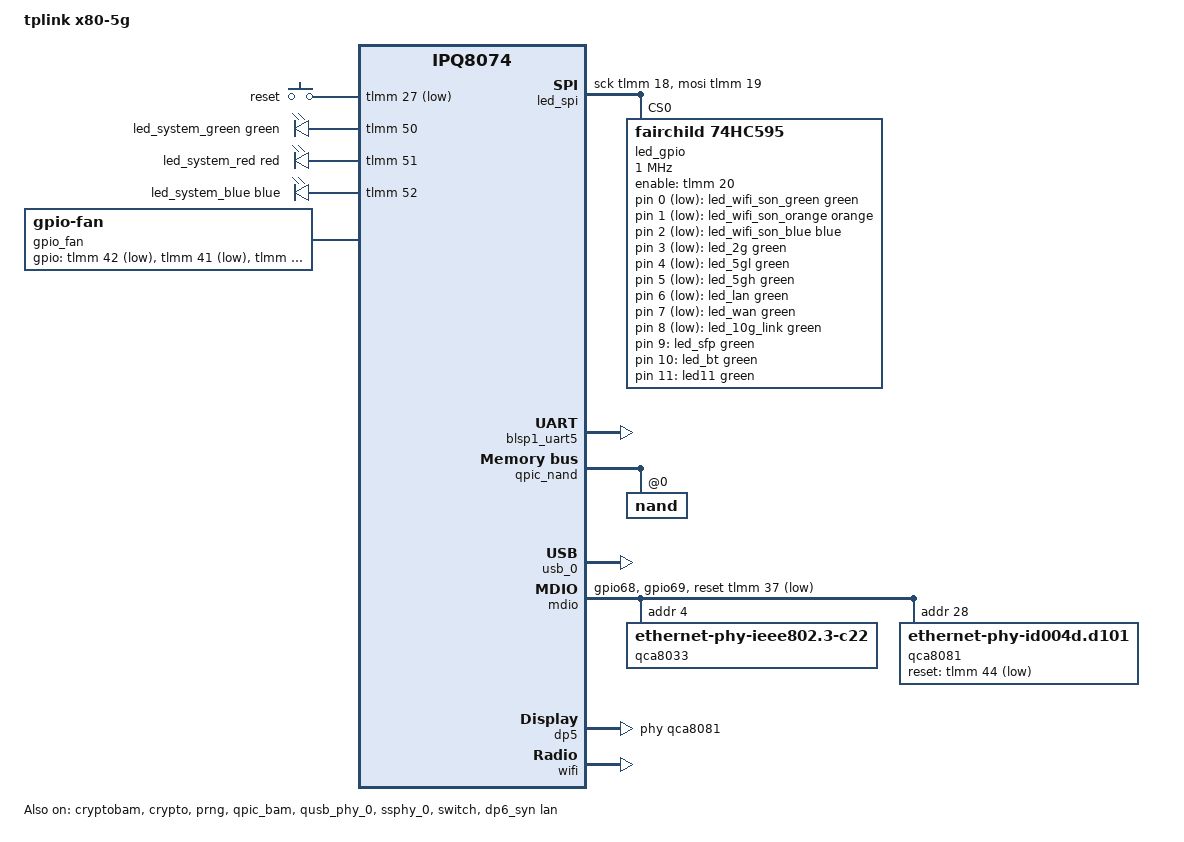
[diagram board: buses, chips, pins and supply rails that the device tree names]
// SPDX-License-Identifier: GPL-2.0-or-later OR MIT
/* Copyright (c) 2022, Robert Marko <robimarko@gmail.com> */
/* altered by Jonathan Brophy <professor_jonny@hotmail.com> */

/dts-v1/;

#include "ipq8074.dtsi"
#include "ipq8074-hk-cpu.dtsi"
#include "ipq8074-ess.dtsi"
#include <dt-bindings/gpio/gpio.h>
#include <dt-bindings/input/input.h>
#include <dt-bindings/leds/common.h>

/ {
	model = "tplink x80-5g";
	compatible = "tplink,x80-5g", "qcom,ipq8074";

	aliases {
		 //Aliases as required by u-boot to patch MAC addresses
		 serial0 = &blsp1_uart5;
 		 ethernet0 = &dp5; // Aliases to capture wan mac from bootloader
		 ethernet1 = &dp6_syn; // Aliases to capture lan mac  from bootloader (currently unused as mac patched from factory data partition)
	};

	chosen {
		stdout-path = "serial0:115200n8";
		bootargs-append = " root=/dev/ubiblock0_1";
	};

	modem {
		compatible = "gpio-modem";
		pinctrl-0 = <&modem_pins>;
		pinctrl-names = "default";

		w_disable {
			label = "w_disable";
			gpios = <&tlmm 35 GPIO_ACTIVE_HIGH>; // wwan disable output
		};

		modem-reset {
			label = "modem_reset";
			gpios = <&tlmm 29 GPIO_ACTIVE_HIGH>; // reset modem output
		};
	};

		antennas {
		compatible = "gpio-antenna";
		pinctrl-0 = <&antenna_pins>;
		pinctrl-names = "default";

		ext_antenna_en {
			label = "ext_antenna_en";
			gpios = <&tlmm 56 GPIO_ACTIVE_HIGH>; // select external sma antennas for WWan output
		};
	};

	gpio_keys {
		compatible = "gpio-keys";
		pinctrl-0 = <&button_pins>;
		pinctrl-names = "default";

		button@1 {
			label = "reset";
			gpios = <&tlmm 27 GPIO_ACTIVE_LOW>; //reset button output
			linux,code = <KEY_RESTART>; // Aliases for button to stitch to linux reset functioon
		};
	};

	led_spi {
		compatible = "spi-gpio";
		#address-cells = <1>;
		#size-cells = <0>;

		sck-gpios = <&tlmm 18 GPIO_ACTIVE_HIGH>; //clock signal for spi connected led's
		mosi-gpios = <&tlmm 19 GPIO_ACTIVE_HIGH>; //serial data for spi connected led's

		led_gpio: led_gpio@0 {
			compatible = "fairchild,74hc595";
			reg = <0>;
			gpio-controller;
			#gpio-cells = <2>;
			registers-number = <2>;
			enable-gpios = <&tlmm 20 GPIO_ACTIVE_HIGH>; // powersupply for spi mux chip
			spi-max-frequency = <1000000>;
		};
	};

	phy-leds {
		compatible = "gpio-leds";

		led_wifi_son_green: led0 {
			gpios = <&led_gpio 0 GPIO_ACTIVE_LOW>;
			color = <LED_COLOR_ID_GREEN>;
		};

		led_wifi_son_orange: led1 {
			gpios = <&led_gpio 1 GPIO_ACTIVE_LOW>;
			color = <LED_COLOR_ID_ORANGE>;
		};

		led_wifi_son_blue: led2 {
			gpios = <&led_gpio 2 GPIO_ACTIVE_LOW>;
			color = <LED_COLOR_ID_BLUE>;
		};

		led_2g: led3 {
			gpios = <&led_gpio 3 GPIO_ACTIVE_LOW>;
			color = <LED_COLOR_ID_GREEN>;
			linux,default-trigger = "phy1radio";
		};

		led_5gl: led4 {
			gpios = <&led_gpio 4 GPIO_ACTIVE_LOW>;
			color = <LED_COLOR_ID_GREEN>;
		};

		led_5gh: led5 {
			gpios = <&led_gpio 5 GPIO_ACTIVE_LOW>;
			color = <LED_COLOR_ID_GREEN>;
		};

		led_lan: led6 {
			gpios = <&led_gpio 6 GPIO_ACTIVE_LOW>;
			color = <LED_COLOR_ID_GREEN>;
		};

		led_wan: led7 {
			gpios = <&led_gpio 7 GPIO_ACTIVE_LOW>;
			color = <LED_COLOR_ID_GREEN>;
			linux,default-trigger = "none";
		};

		led_10g_link: led8 {
			gpios = <&led_gpio 8 GPIO_ACTIVE_LOW>;
			color = <LED_COLOR_ID_GREEN>;
		};

		led_sfp: led9 {
			gpios = <&led_gpio 9 GPIO_ACTIVE_HIGH>;
			color = <LED_COLOR_ID_GREEN>;
		};

		led_bt: led10 {
			gpios = <&led_gpio 10 GPIO_ACTIVE_HIGH>;
			color = <LED_COLOR_ID_GREEN>;
		};

		led11 {
			gpios = <&led_gpio 11 GPIO_ACTIVE_HIGH>;
			color = <LED_COLOR_ID_GREEN>;
		};
	};

	leds {
		compatible = "gpio-leds";
		pinctrl-0 = <&led_pins>;
		pinctrl-names = "default";

		led_system_green: green {
			gpios = <&tlmm 50 GPIO_ACTIVE_HIGH>; //green led output
			color = <LED_COLOR_ID_GREEN>;/* pulsing  green updating firmware, solid green connected to 4G*/
			default-state = "on";
		};

		led_system_red: red {
			gpios = <&tlmm 51 GPIO_ACTIVE_HIGH>; //red led output
			color = <LED_COLOR_ID_RED>; /* pulsing  red disconnected from Wan, solid red error*/
			default-state = "on";
		};

		led_system_blue: blue {
			gpios = <&tlmm 52 GPIO_ACTIVE_HIGH>; //blue led output
			color = <LED_COLOR_ID_BLUE>; /* pulsing  blue is ready for setup or wps in in progress*/
		};
	};

	gpio_fan: gpio-fan {
		compatible = "gpio-fan";
		pinctrl-0 = <&fan_pins>;
		pinctrl-names = "default";
		gpios = <&tlmm 42 GPIO_ACTIVE_LOW>, // fan gpio MSB
						<&tlmm 41 GPIO_ACTIVE_LOW>,
						<&tlmm 40 GPIO_ACTIVE_LOW>; // fan gpio LSB
		/*
		* Sunnon EF40201BX-Q18C-F99
		* 6800 rpm
		* gpio68 seemed to be the feedback rpm of the fan?
		* no support for fan speed in kernel.
		*/
		//rpm-gpios = <&tlmm 68 GPIO_ACTIVE_HIGH>;
		gpio-fan,speed-map = <0	   0>, // speed 0 binary drive bits 0,0,0 (idle state)
												 <971	 1>, // speed 1 binary drive bits 0,0,1      ▼
												 <1942 2>, // speed 3 binary drive bits 0,1,0 (active state)
												 <2913 3>, // speed 4 binary drive bits 0,1,1      ▼
												 <3884 4>, // speed 5 binary drive bits 1,0,0      ▼
												 <4855 5>, // speed 6 binary drive bits 1,0,1 (high state)
												 <5826 6>, // speed 7 binary drive bits 1,1,0      ▼
												 <6800 7>; // speed 8 binary drive bits 1,1,1      ▼
		//alarm-gpios = <&tlmm XX GPIO_ACTIVE_HIGH>;
		cooling-min-level = <0>; // minimum speed allowable to be set via thermal
		cooling-max-level = <7>; // max speed allowable to be set via thermal
		#cooling-cells = <2>;  /* min followed by max */
	};
};

&cpu0_thermal {
	trips {
		cpu0_high: cpu-high {
			temperature = <70000>; // temp tripping point in millidegrees Celsius
			hysteresis = <2000>; // dead band in millidegrees Celsius to avoid windup
			type = "active"; // active to indicate active cooling device
		};
		cpu0_active: cpu-active {
			temperature = <50000>; // temp tripping point in millidegrees Celsius
			hysteresis = <2000>; // dead band in millidegrees Celsius to avoid windup
			type = "active"; // active to indicate active cooling device
		};
		cpu0_idle: cpu-idle {
			temperature = <25000>; // temp tripping point in millidegrees Celsius
			hysteresis = <2000>; // dead band in millidegrees Celsius to avoid windup
			type = "active"; // active to indicate active cooling device
		};
	};

	cooling-maps {
		map2 {
			trip = <&cpu0_high>;
			cooling-device = <&gpio_fan 5 THERMAL_NO_LIMIT>; // minimum and maxium states of the cooling device
		};
		map3 {
			trip = <&cpu0_active>;
			cooling-device = <&gpio_fan 2 4>; // minimum and maxium states of the cooling device
		};
		map4 {
			trip = <&cpu0_idle>;
			cooling-device = <&gpio_fan THERMAL_NO_LIMIT 1>; // minimum and maxium states of the cooling device
		};
	};
};

&cpu1_thermal {
	trips {
		cpu1_high: cpu-high {
			temperature = <70000>; // temp tripping point in millidegrees Celsius
			hysteresis = <2000>; // dead band in millidegrees Celsius to avoid windup
			type = "active"; // active to indicate active cooling device
		};
		cpu1_active: cpu-active {
			temperature = <50000>; // temp tripping point in millidegrees Celsius
			hysteresis = <2000>; // dead band in millidegrees Celsius to avoid windup
			type = "active"; // active to indicate active cooling device
		};
		cpu1_idle: cpu-idle {
			temperature = <25000>; // temp tripping point in millidegrees Celsius
			hysteresis = <2000>; // dead band in millidegrees Celsius to avoid windup
			type = "active"; // active to indicate active cooling device
		};
	};

	cooling-maps {
		map2 {
			trip = <&cpu1_high>;
			cooling-device = <&gpio_fan 5 THERMAL_NO_LIMIT>; // minimum and maxium states of the cooling device
		};
		map3 {
			trip = <&cpu1_active>;
			cooling-device = <&gpio_fan 2 4>; // minimum and maxium states of the cooling device
		};
		map4 {
			trip = <&cpu1_idle>;
			cooling-device = <&gpio_fan THERMAL_NO_LIMIT 1>; // minimum and maxium states of the cooling device
		};
	};
};

&cpu2_thermal {
	trips {
		cpu2_high: cpu-high {
			temperature = <70000>; // temp tripping point in millidegrees Celsius
			hysteresis = <2000>; // dead band in millidegrees Celsius to avoid windup
			type = "active"; // active to indicate active cooling device
		};
		cpu2_active: cpu-active {
			temperature = <50000>; // temp tripping point in millidegrees Celsius
			hysteresis = <2000>; // dead band in millidegrees Celsius to avoid windup
			type = "active"; // active to indicate active cooling device
		};
		cpu2_idle: cpu-idle {
			temperature = <25000>; // temp tripping point in millidegrees Celsius
			hysteresis = <2000>; // dead band in millidegrees Celsius to avoid windup
			type = "active"; // active to indicate active cooling device
		};
	};

	cooling-maps {
		map2 {
			trip = <&cpu2_high>;
			cooling-device = <&gpio_fan 5 THERMAL_NO_LIMIT>; // minimum and maxium states of the cooling device
		};
		map3 {
			trip = <&cpu2_active>;
			cooling-device = <&gpio_fan 2 4>; // minimum and maxium states of the cooling device
		};
		map4 {
			trip = <&cpu2_idle>;
			cooling-device = <&gpio_fan THERMAL_NO_LIMIT 1>; // minimum and maxium states of the cooling device
		};
	};
};

&cpu3_thermal {
	trips {
		cpu3_high: cpu-high {
			temperature = <70000>; // temp tripping point in millidegrees Celsius
			hysteresis = <2000>; // dead band in millidegrees Celsius to avoid windup
			type = "active"; // active to indicate active cooling device
		};
		cpu3_active: cpu-active {
			temperature = <50000>; // temp tripping point in millidegrees Celsius
			hysteresis = <2000>; // dead band in millidegrees Celsius to avoid windup
			type = "active"; // active to indicate active cooling device
		};
		cpu3_idle: cpu-idle {
			temperature = <25000>; // temp tripping point in millidegrees Celsius
			hysteresis = <2000>; // dead band in millidegrees Celsius to avoid windup
			type = "active"; // active to indicate active cooling device
		};
	};

	cooling-maps {
		map2 {
			trip = <&cpu3_high>;
			cooling-device = <&gpio_fan 5 THERMAL_NO_LIMIT>; // minimum and maxium states of the cooling device
		};
		map3 {
			trip = <&cpu3_active>;
			cooling-device = <&gpio_fan 2 4>; // minimum and maxium states of the cooling device
		};
		map4 {
			trip = <&cpu3_idle>;
			cooling-device = <&gpio_fan THERMAL_NO_LIMIT 1>; // minimum and maxium states of the cooling device
		};
	};
};


&cluster_thermal {
	trips {
		cluster_high: cluster-high {
			temperature = <70000>; // temp tripping point in millidegrees Celsius
			hysteresis = <2000>; // dead band in millidegrees Celsius to avoid windup
			type = "active"; // active to indicate active cooling device
		};
		cluster_active: cluster-active {
			temperature = <50000>; // temp tripping point in millidegrees Celsius
			hysteresis = <2000>; // dead band in millidegrees Celsius to avoid windup
			type = "active"; // active to indicate active cooling device
		};
		cluster_idle: cluster-idle {
			temperature = <25000>; // temp tripping point in millidegrees Celsius
			hysteresis = <2000>; // dead band in millidegrees Celsius to avoid windup
			type = "active"; // active to indicate active cooling device
		};
	};

	cooling-maps {
		map2 {
			trip = <&cluster_high>;
			cooling-device = <&gpio_fan 5 THERMAL_NO_LIMIT>; // minimum and maxium states of the cooling device
		};
		map3 {
			trip = <&cluster_active>;
			cooling-device = <&gpio_fan 2 4>; // minimum and maxium states of the cooling device
		};
		map4 {
			trip = <&cluster_idle>;
			cooling-device = <&gpio_fan THERMAL_NO_LIMIT 1>; // minimum and maxium states of the cooling device
		};
	};
};


&tlmm {
	button_pins: button-state {
		pins = "gpio27";
		function = "gpio";
		drive-strength = <2>;  //set 2ma max drive on reset button
		bias-pull-up; // set pullup for reset button
	};

	fan_pins: fan-state {
		pins = "gpio40", "gpio41", "gpio42";
		function = "gpio";
		drive-strength = <2>;  //set 2ma max drive on fan pins
		bias-disable; // disaable bias for fan outputs
	};

	antenna_pins: antenna-state {
		ext_antenna_en {
			pins = "gpio56";
			function = "gpio";
			drive-strength = <2>;  //set 2ma max drive on antenna pins
			bias-disable;  // disaable bias for external antenna control
		};
	};

	modem_pins: modem-state {
		modem_reset {
			pins = "gpio29";
			function = "gpio";
			drive-strength = <2>; //set 2ma max drive on modem reset
			bias-disable; // disaable bias for modem reset control
		};

		w_disable {
			pins = "gpio55";
			function = "gpio";
			drive-strength = <2>;  //set 2ma max drive on modem reset
			bias-disable;  // disaable bias for modem wan disable control
		};
	};

	led_pins: led-state {
		pins = "gpio50", "gpio51", "gpio52";
		function = "gpio";
		drive-strength = <8>;  //set ama max drive on led pins
		bias-disable; // disaable bias for modem wan disable control
	};

	mdio_pins: mdio-pins {
		mdc {
			pins = "gpio68";
			function = "mdc";
			drive-strength = <8>;
			bias-pull-up;
		};

		mdio {
			pins = "gpio69";
			function = "mdio";
			drive-strength = <8>;
			bias-pull-up;
		};
	};
};

&blsp1_uart5 {
	status = "okay"; // enable msm high speed uart
};

&cryptobam {
	status = "okay"; // enable dma controller
};

&crypto {
	status = "okay";
};

&prng {
	status = "okay"; // enable Pseudo-Random Number Generator
};

&qpic_bam {
	status = "okay";
};

&qpic_nand {
	status = "okay"; // enable nand controller

	nand@0 {
		reg = <0>;
		nand-ecc-strength = <4>;
		nand-ecc-step-size = <512>;
		nand-bus-width = <8>;

		partitions {
			compatible = "qcom,smem-part";
		};
	};
};

&qusb_phy_0 {
	status = "okay";
};

&ssphy_0 {
	status = "okay";
};

&usb_0 {
	status = "okay"; // enable first usb3 controller
};

&mdio {
	status = "okay";

	pinctrl-0 = <&mdio_pins>;
	pinctrl-names = "default";
	reset-gpios = <&tlmm 37 GPIO_ACTIVE_LOW>;

	qca8033: ethernet-phy@4 {
		compatible = "ethernet-phy-ieee802.3-c22";
		reg = <0x4>;
	};

	qca8081: ethernet-phy@28 {
		compatible = "ethernet-phy-id004d.d101";
		reg = <28>;
		reset-deassert-us = <10000>;
		reset-gpios = <&tlmm 44 GPIO_ACTIVE_LOW>;
	};
};


&switch {
	status = "okay";

	switch_lan_bmp = <ESS_PORT6>; /* lan port bitmap */
	switch_wan_bmp = <ESS_PORT5>; /* wan port bitmap */
	switch_mac_mode1 = <MAC_MODE_SGMII_CHANNEL0>; /* mac mode for uniphy instance1*/
	switch_mac_mode2 = <MAC_MODE_SGMII_CHANNEL0>; /* mac mode for uniphy instance2*/

	qcom,port_phyinfo {
		port@6 {
			port_id = <6>;
			phy_address = <4>;
		};
		port@5 {
			port_id = <5>;
			phy_address = <28>;
			port_mac_sel = "QGMAC_PORT";
		};
	};
};

&edma {
	status = "okay";
};

&dp5 {
	status = "okay"; // enable wan port
	phy-handle = <&qca8081>;
	label = "wan";
};

&dp6_syn {
	status = "okay"; // enable lan port
	phy-handle = <&qca8033>;
	label = "lan";
};

&wifi {
	status = "okay"; // enable wifi
	qcom,ath11k-calibration-variant = "tplink_x80-5g";
};
